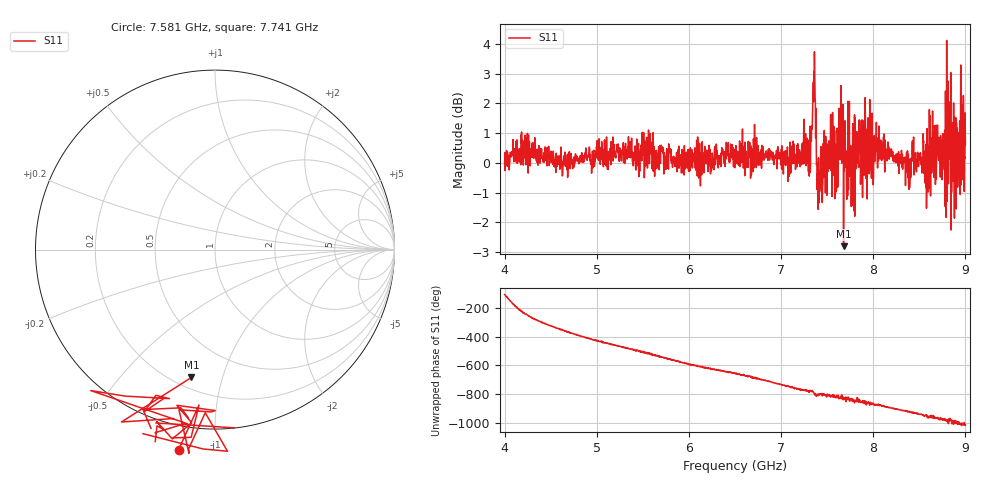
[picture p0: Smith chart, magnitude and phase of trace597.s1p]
! Created with skrf 1.8.0 (http://scikit-rf.org).
# Hz S RI R 50.0
!freq ReS11 ImS11
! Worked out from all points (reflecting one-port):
!   1601 points, 4 GHz to 9 GHz, reference 50 ohm
!   lowest |S11| = -2.8 dB at 7.678 GHz (marker M1), VSWR 6.25, Z = 13.3 - j39.9 ohm
!   phase of S11 starts at -108 deg and turns -906 deg over the sweep
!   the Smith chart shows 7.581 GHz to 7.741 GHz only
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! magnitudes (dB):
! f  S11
! 4 GHz  0.0
! 4.244 GHz  0.8
! 4.625 GHz  -0.4
! 5.25 GHz  0.5
! 5.875 GHz  -0.2
! 6.5 GHz  0.1
! 7.125 GHz  0.1
! 7.294 GHz  0.7
! 7.356 GHz  3.1
! 7.4 GHz  -0.5
! 7.422 GHz  -0.7
! 7.534 GHz  0.4
! 7.591 GHz  0.6
! 7.65 GHz  2.6
! 7.678 GHz  -2.8
! 7.703 GHz  -0.1
! 7.75 GHz  0.0
! 7.775 GHz  0.4
! 7.828 GHz  0.8
! 7.928 GHz  0.6
! 8.375 GHz  0.2
! 8.522 GHz  -0.1
! 8.581 GHz  -0.6
! 8.656 GHz  0.9
! 8.766 GHz  0.5
! 8.816 GHz  -0.7
! 8.856 GHz  0.4
! 9 GHz  0.6
